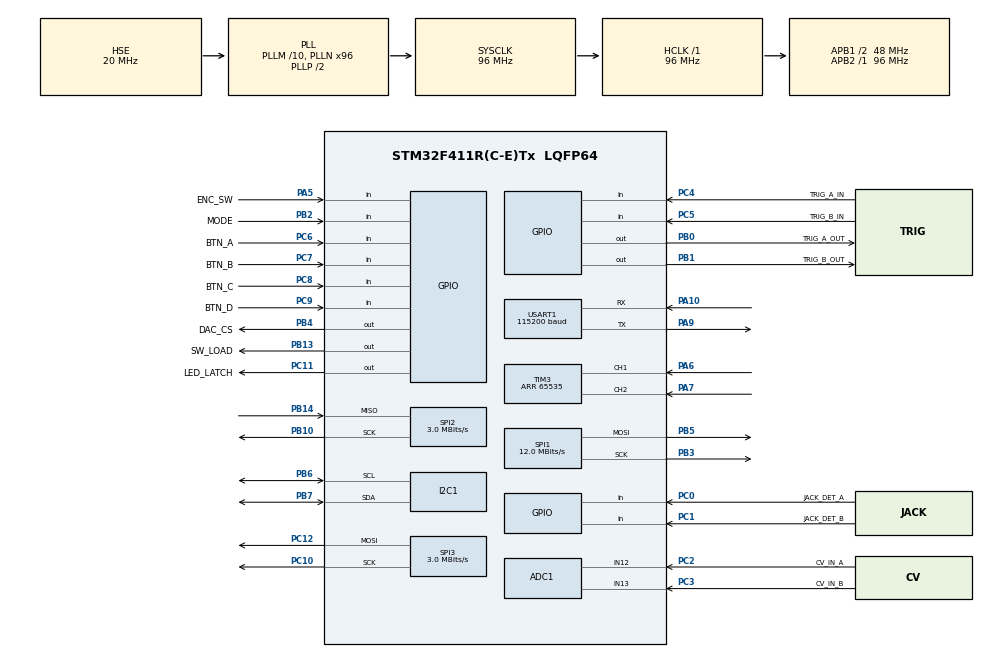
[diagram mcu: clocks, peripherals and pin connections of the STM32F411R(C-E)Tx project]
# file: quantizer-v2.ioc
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ADC1.Channel-0\#ChannelRegularConversion=ADC_CHANNEL_12
ADC1.Channel-1\#ChannelRegularConversion=ADC_CHANNEL_13
ADC1.ClockPrescaler=ADC_CLOCK_SYNC_PCLK_DIV8
ADC1.ContinuousConvMode=ENABLE
ADC1.DMAContinuousRequests=ENABLE
ADC1.EOCSelection=ADC_EOC_SEQ_CONV
ADC1.NbrOfConversion=2
ADC1.NbrOfConversionFlag=1
ADC1.Rank-0\#ChannelRegularConversion=1
ADC1.Rank-1\#ChannelRegularConversion=2
ADC1.SamplingTime-0\#ChannelRegularConversion=ADC_SAMPLETIME_480CYCLES
ADC1.SamplingTime-1\#ChannelRegularConversion=ADC_SAMPLETIME_480CYCLES
ADC1.ScanConvMode=ENABLE
ADC1.master=1
Dma.ADC1.0.Direction=DMA_PERIPH_TO_MEMORY
Dma.ADC1.0.FIFOMode=DMA_FIFOMODE_DISABLE
Dma.ADC1.0.Instance=DMA2_Stream0
Dma.ADC1.0.MemDataAlignment=DMA_MDATAALIGN_HALFWORD
Dma.ADC1.0.MemInc=DMA_MINC_ENABLE
Dma.ADC1.0.Mode=DMA_CIRCULAR
Dma.ADC1.0.PeriphDataAlignment=DMA_PDATAALIGN_HALFWORD
Dma.ADC1.0.PeriphInc=DMA_PINC_DISABLE
Dma.ADC1.0.Priority=DMA_PRIORITY_HIGH
Dma.Request0=ADC1
I2C1.I2C_Mode=I2C_Standard
Mcu.Family=STM32F4
Mcu.Name=STM32F411R(C-E)Tx
Mcu.Package=LQFP64
NVIC.DMA2_Stream0_IRQn=true\:0\:0\:false\:false\:true\:false\:true\:true
NVIC.I2C1_ER_IRQn=true\:3\:0\:false\:false\:true\:true\:true\:true
NVIC.I2C1_EV_IRQn=true\:3\:0\:false\:false\:true\:true\:true\:true
NVIC.PriorityGroup=NVIC_PRIORITYGROUP_4
NVIC.TIM2_IRQn=true\:1\:0\:false\:false\:true\:true\:true\:true
NVIC.USART1_IRQn=true\:2\:0\:false\:false\:true\:true\:true\:true
PA10.Mode=Asynchronous
PA10.Signal=USART1_RX
PA13.Mode=Serial_Wire
PA13.Signal=SYS_JTMS-SWDIO
PA14.Mode=Serial_Wire
PA14.Signal=SYS_JTCK-SWCLK
PA5.GPIO_Label=ENC_SW
PA5.Signal=GPIO_Input
PA6.Signal=S_TIM3_CH1
PA7.Signal=S_TIM3_CH2
PA9.Mode=Asynchronous
PA9.Signal=USART1_TX
PB0.GPIO_Label=TRIG_A_OUT
PB0.PinState=GPIO_PIN_SET
PB0.Signal=GPIO_Output
PB1.GPIO_Label=TRIG_B_OUT
PB1.PinState=GPIO_PIN_SET
PB1.Signal=GPIO_Output
PB10.Mode=RX_Only_Simplex_Unidirect_Master
PB10.Signal=SPI2_SCK
PB13.GPIO_Label=SW_LOAD
PB13.PinState=GPIO_PIN_SET
PB13.Signal=GPIO_Output
PB14.Mode=RX_Only_Simplex_Unidirect_Master
PB14.Signal=SPI2_MISO
PB2.GPIO_Label=MODE
PB2.Signal=GPIO_Input
PB3.Mode=TX_Only_Simplex_Unidirect_Master
PB3.Signal=SPI1_SCK
PB4.GPIO_Label=DAC_CS
PB4.GPIO_Speed=GPIO_SPEED_FREQ_VERY_HIGH
PB4.PinState=GPIO_PIN_SET
PB4.Signal=GPIO_Output
PB5.Mode=TX_Only_Simplex_Unidirect_Master
PB5.Signal=SPI1_MOSI
PB6.Mode=I2C
PB6.Signal=I2C1_SCL
PB7.Mode=I2C
PB7.Signal=I2C1_SDA
PC0.GPIO_Label=JACK_DET_A
PC0.GPIO_PuPd=GPIO_PULLDOWN
PC0.Signal=GPIO_Input
PC1.GPIO_Label=JACK_DET_B
PC1.GPIO_PuPd=GPIO_PULLDOWN
PC1.Signal=GPIO_Input
PC10.Mode=TX_Only_Simplex_Unidirect_Master
PC10.Signal=SPI3_SCK
PC11.GPIO_Label=LED_LATCH
PC11.Signal=GPIO_Output
PC12.Mode=TX_Only_Simplex_Unidirect_Master
PC12.Signal=SPI3_MOSI
PC2.GPIO_Label=CV_IN_A
PC2.Signal=ADCx_IN12
PC3.GPIO_Label=CV_IN_B
PC3.Signal=ADCx_IN13
PC4.GPIO_Label=TRIG_A_IN
PC4.Signal=GPIO_Input
PC5.GPIO_Label=TRIG_B_IN
PC5.Signal=GPIO_Input
PC6.GPIO_Label=BTN_A
PC6.Signal=GPIO_Input
PC7.GPIO_Label=BTN_B
PC7.Signal=GPIO_Input
PC8.GPIO_Label=BTN_C
PC8.Signal=GPIO_Input
PC9.GPIO_Label=BTN_D
PC9.Signal=GPIO_Input
PH0\ -\ OSC_IN.Mode=HSE-External-Oscillator
PH0\ -\ OSC_IN.Signal=RCC_OSC_IN
PH1\ -\ OSC_OUT.Mode=HSE-External-Oscillator
PH1\ -\ OSC_OUT.Signal=RCC_OSC_OUT
ProjectManager.HeapSize=0x200
ProjectManager.StackSize=0x400
ProjectManager.TargetToolchain=STM32CubeIDE
RCC.48MHZClocksFreq_Value=48000000
RCC.AHBFreq_Value=96000000
RCC.APB1CLKDivider=RCC_HCLK_DIV2
RCC.APB1Freq_Value=48000000
RCC.APB1TimFreq_Value=96000000
RCC.APB2Freq_Value=96000000
RCC.APB2TimFreq_Value=96000000
RCC.CortexFreq_Value=96000000
RCC.HCLKFreq_Value=96000000
RCC.HSE_VALUE=20000000
RCC.HSI_VALUE=16000000
RCC.LSE_VALUE=32768
RCC.PLLM=10
RCC.PLLN=96
RCC.PLLSourceVirtual=RCC_PLLSOURCE_HSE
RCC.SYSCLKFreq_VALUE=96000000
RCC.SYSCLKSource=RCC_SYSCLKSOURCE_PLLCLK
RCC.VCOOutputFreq_Value=192000000
SH.ADCx_IN12.0=ADC1_IN12,IN12
SH.ADCx_IN13.0=ADC1_IN13,IN13
SH.S_TIM3_CH1.0=TIM3_CH1,Encoder_Interface
SH.S_TIM3_CH2.0=TIM3_CH2,Encoder_Interface
SPI1.BaudRatePrescaler=SPI_BAUDRATEPRESCALER_8
SPI1.CalculateBaudRate=12.0 MBits/s
SPI1.DataSize=SPI_DATASIZE_8BIT
SPI1.Direction=SPI_DIRECTION_2LINES
SPI1.Mode=SPI_MODE_MASTER
SPI1.VirtualType=VM_MASTER
SPI2.BaudRatePrescaler=SPI_BAUDRATEPRESCALER_16
SPI2.CalculateBaudRate=3.0 MBits/s
SPI2.DataSize=SPI_DATASIZE_8BIT
SPI2.Direction=SPI_DIRECTION_2LINES_RXONLY
SPI2.Mode=SPI_MODE_MASTER
SPI2.VirtualType=VM_MASTER
SPI3.BaudRatePrescaler=SPI_BAUDRATEPRESCALER_16
SPI3.CalculateBaudRate=3.0 MBits/s
SPI3.DataSize=SPI_DATASIZE_8BIT
SPI3.Direction=SPI_DIRECTION_2LINES
SPI3.Mode=SPI_MODE_MASTER
SPI3.VirtualType=VM_MASTER
TIM2.AutoReloadPreload=TIM_AUTORELOAD_PRELOAD_ENABLE
TIM2.Period=999
TIM2.Prescaler=95
TIM3.EncoderMode=TIM_ENCODERMODE_TI12
TIM3.IC1Filter=10
TIM3.IC2Filter=10
TIM3.Period=65535
USART1.BaudRate=115200
USART1.Mode=MODE_TX_RX
USART1.VirtualMode=VM_ASYNC
VP_TIM2_VS_ClockSourceINT.Mode=Internal
board=custom

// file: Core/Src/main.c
/* USER CODE BEGIN Header */
/**
  ******************************************************************************
  * @file           : main.c
  * @brief          : Main program body
  ******************************************************************************
  * @attention
  *
  * Copyright (c) 2026 STMicroelectronics.
  * All rights reserved.
  *
  * This software is licensed under terms that can be found in the LICENSE file
  * in the root directory of this software component.
  * If no LICENSE file comes with this software, it is provided AS-IS.
  *
  ******************************************************************************
  */
/* USER CODE END Header */
#include "main.h"

/* USER CODE BEGIN Includes */

#include "app/app.h"
#include "app/cli.h"
#include "app/i2c_slave.h"

/* USER CODE END Includes */

ADC_HandleTypeDef hadc1;
DMA_HandleTypeDef hdma_adc1;

I2C_HandleTypeDef hi2c1;

SPI_HandleTypeDef hspi1;
SPI_HandleTypeDef hspi2;
SPI_HandleTypeDef hspi3;

TIM_HandleTypeDef htim2;
TIM_HandleTypeDef htim3;

UART_HandleTypeDef huart1;

/* USER CODE BEGIN PV */

static struct APP_config app_config;

/* USER CODE END PV */

void SystemClock_Config(void);
static void MX_GPIO_Init(void);
static void MX_DMA_Init(void);
static void MX_ADC1_Init(void);
static void MX_SPI1_Init(void);
static void MX_SPI2_Init(void);
static void MX_SPI3_Init(void);
static void MX_TIM2_Init(void);
static void MX_TIM3_Init(void);
static void MX_USART1_UART_Init(void);
static void MX_I2C1_Init(void);

/* USER CODE BEGIN 0 */

/*
 * 1 kHz scheduler tick (TIM2). Only sets a flag; all work happens in APP_loop.
 */
void HAL_TIM_PeriodElapsedCallback(TIM_HandleTypeDef* htim)
{
    if (htim->Instance == TIM2)
    {
        APP_on_tick();
    }
}

/*
 * CLI byte received. Make sure the USART1 global interrupt is enabled in the IOC.
 */
void HAL_UART_RxCpltCallback(UART_HandleTypeDef* huart)
{
    if (huart->Instance == huart1.Instance)
    {
        CLI_on_rx_isr();
    }
}

/*
 * Conductor I2C slave (sequencer personality). Requires the I2C1 event
 * and error interrupts to be enabled in the IOC.
 */
void HAL_I2C_AddrCallback(I2C_HandleTypeDef* hi2c, uint8_t TransferDirection,
                          uint16_t AddrMatchCode)
{
    if (hi2c->Instance == I2C1)
    {
        I2C_SLAVE_on_addr(TransferDirection, AddrMatchCode);
    }
}

void HAL_I2C_SlaveRxCpltCallback(I2C_HandleTypeDef* hi2c)
{
    if (hi2c->Instance == I2C1)
    {
        I2C_SLAVE_on_rx_complete();
    }
}

void HAL_I2C_SlaveTxCpltCallback(I2C_HandleTypeDef* hi2c)
{
    if (hi2c->Instance == I2C1)
    {
        I2C_SLAVE_on_tx_complete();
    }
}

void HAL_I2C_ListenCpltCallback(I2C_HandleTypeDef* hi2c)
{
    if (hi2c->Instance == I2C1)
    {
        I2C_SLAVE_on_listen_complete();
    }
}

void HAL_I2C_ErrorCallback(I2C_HandleTypeDef* hi2c)
{
    if (hi2c->Instance == I2C1)
    {
        I2C_SLAVE_on_error();
    }
}

/* USER CODE END 0 */

int main(void)
{

  /* MCU Configuration--------------------------------------------------------*/

  /* Reset of all peripherals, Initializes the Flash interface and the Systick. */
  HAL_Init();

  /* Configure the system clock */
  SystemClock_Config();

  /* Initialize all configured peripherals */
  MX_GPIO_Init();
  MX_DMA_Init();
  MX_ADC1_Init();
  MX_SPI1_Init();
  MX_SPI2_Init();
  MX_SPI3_Init();
  MX_TIM2_Init();
  MX_TIM3_Init();
  MX_USART1_UART_Init();
  MX_I2C1_Init();
  /* USER CODE BEGIN 2 */

    // Delay to let the rails settle before user init
    HAL_Delay(250);

    app_config.hadc = &hadc1;
    app_config.hspi_dac = &hspi1;
    app_config.hspi_sw = &hspi2;
    app_config.hspi_led = &hspi3;
    app_config.htim_tick = &htim2;
    app_config.htim_enc = &htim3;
    app_config.huart_cli = &huart1;
    app_config.hi2c = &hi2c1;

    APP_init(&app_config);

  /* USER CODE END 2 */

  /* Infinite loop */
  /* USER CODE BEGIN WHILE */
    while (1)
    {
        APP_loop();
    /* USER CODE END WHILE */

    }
}

void SystemClock_Config(void)
{
  RCC_OscInitTypeDef RCC_OscInitStruct = {0};
  RCC_ClkInitTypeDef RCC_ClkInitStruct = {0};

  /** Configure the main internal regulator output voltage
  */
  __HAL_RCC_PWR_CLK_ENABLE();
  __HAL_PWR_VOLTAGESCALING_CONFIG(PWR_REGULATOR_VOLTAGE_SCALE1);

  /** Initializes the RCC Oscillators according to the specified parameters
  * in the RCC_OscInitTypeDef structure.
  */
  RCC_OscInitStruct.OscillatorType = RCC_OSCILLATORTYPE_HSE;
  RCC_OscInitStruct.HSEState = RCC_HSE_ON;
  RCC_OscInitStruct.PLL.PLLState = RCC_PLL_ON;
  RCC_OscInitStruct.PLL.PLLSource = RCC_PLLSOURCE_HSE;
  RCC_OscInitStruct.PLL.PLLM = 10;
  RCC_OscInitStruct.PLL.PLLN = 96;
  RCC_OscInitStruct.PLL.PLLP = RCC_PLLP_DIV2;
  RCC_OscInitStruct.PLL.PLLQ = 4;
  if (HAL_RCC_OscConfig(&RCC_OscInitStruct) != HAL_OK)
  {
    Error_Handler();
  }

  /** Initializes the CPU, AHB and APB buses clocks
  */
  RCC_ClkInitStruct.ClockType = RCC_CLOCKTYPE_HCLK|RCC_CLOCKTYPE_SYSCLK
                              |RCC_CLOCKTYPE_PCLK1|RCC_CLOCKTYPE_PCLK2;
  RCC_ClkInitStruct.SYSCLKSource = RCC_SYSCLKSOURCE_PLLCLK;
  RCC_ClkInitStruct.AHBCLKDivider = RCC_SYSCLK_DIV1;
  RCC_ClkInitStruct.APB1CLKDivider = RCC_HCLK_DIV2;
  RCC_ClkInitStruct.APB2CLKDivider = RCC_HCLK_DIV1;

  if (HAL_RCC_ClockConfig(&RCC_ClkInitStruct, FLASH_LATENCY_3) != HAL_OK)
  {
    Error_Handler();
  }
}

static void MX_ADC1_Init(void)
{

  ADC_ChannelConfTypeDef sConfig = {0};

  /** Configure the global features of the ADC (Clock, Resolution, Data Alignment and number of conversion)
  */
  hadc1.Instance = ADC1;
  hadc1.Init.ClockPrescaler = ADC_CLOCK_SYNC_PCLK_DIV8;
  hadc1.Init.Resolution = ADC_RESOLUTION_12B;
  hadc1.Init.ScanConvMode = ENABLE;
  hadc1.Init.ContinuousConvMode = ENABLE;
  hadc1.Init.DiscontinuousConvMode = DISABLE;
  hadc1.Init.ExternalTrigConvEdge = ADC_EXTERNALTRIGCONVEDGE_NONE;
  hadc1.Init.ExternalTrigConv = ADC_SOFTWARE_START;
  hadc1.Init.DataAlign = ADC_DATAALIGN_RIGHT;
  hadc1.Init.NbrOfConversion = 2;
  hadc1.Init.DMAContinuousRequests = ENABLE;
  hadc1.Init.EOCSelection = ADC_EOC_SEQ_CONV;
  if (HAL_ADC_Init(&hadc1) != HAL_OK)
  {
    Error_Handler();
  }

  /** Configure for the selected ADC regular channel its corresponding rank in the sequencer and its sample time.
  */
  sConfig.Channel = ADC_CHANNEL_12;
  sConfig.Rank = 1;
  sConfig.SamplingTime = ADC_SAMPLETIME_480CYCLES;
  if (HAL_ADC_ConfigChannel(&hadc1, &sConfig) != HAL_OK)
  {
    Error_Handler();
  }

  /** Configure for the selected ADC regular channel its corresponding rank in the sequencer and its sample time.
  */
  sConfig.Channel = ADC_CHANNEL_13;
  sConfig.Rank = 2;
  if (HAL_ADC_ConfigChannel(&hadc1, &sConfig) != HAL_OK)
  {
    Error_Handler();
  }

}

static void MX_I2C1_Init(void)
{

  hi2c1.Instance = I2C1;
  hi2c1.Init.ClockSpeed = 100000;
  hi2c1.Init.DutyCycle = I2C_DUTYCYCLE_2;
  hi2c1.Init.OwnAddress1 = 0;
  hi2c1.Init.AddressingMode = I2C_ADDRESSINGMODE_7BIT;
  hi2c1.Init.DualAddressMode = I2C_DUALADDRESS_DISABLE;
  hi2c1.Init.OwnAddress2 = 0;
  hi2c1.Init.GeneralCallMode = I2C_GENERALCALL_DISABLE;
  hi2c1.Init.NoStretchMode = I2C_NOSTRETCH_DISABLE;
  if (HAL_I2C_Init(&hi2c1) != HAL_OK)
  {
    Error_Handler();
  }

}

static void MX_SPI1_Init(void)
{

  /* SPI1 parameter configuration*/
  hspi1.Instance = SPI1;
  hspi1.Init.Mode = SPI_MODE_MASTER;
  hspi1.Init.Direction = SPI_DIRECTION_2LINES;
  hspi1.Init.DataSize = SPI_DATASIZE_8BIT;
  hspi1.Init.CLKPolarity = SPI_POLARITY_LOW;
  hspi1.Init.CLKPhase = SPI_PHASE_1EDGE;
  hspi1.Init.NSS = SPI_NSS_SOFT;
  hspi1.Init.BaudRatePrescaler = SPI_BAUDRATEPRESCALER_8;
  hspi1.Init.FirstBit = SPI_FIRSTBIT_MSB;
  hspi1.Init.TIMode = SPI_TIMODE_DISABLE;
  hspi1.Init.CRCCalculation = SPI_CRCCALCULATION_DISABLE;
  hspi1.Init.CRCPolynomial = 10;
  if (HAL_SPI_Init(&hspi1) != HAL_OK)
  {
    Error_Handler();
  }

}

static void MX_SPI2_Init(void)
{

  /* SPI2 parameter configuration*/
  hspi2.Instance = SPI2;
  hspi2.Init.Mode = SPI_MODE_MASTER;
  hspi2.Init.Direction = SPI_DIRECTION_2LINES_RXONLY;
  hspi2.Init.DataSize = SPI_DATASIZE_8BIT;
  hspi2.Init.CLKPolarity = SPI_POLARITY_LOW;
  hspi2.Init.CLKPhase = SPI_PHASE_1EDGE;
  hspi2.Init.NSS = SPI_NSS_SOFT;
  hspi2.Init.BaudRatePrescaler = SPI_BAUDRATEPRESCALER_16;
  hspi2.Init.FirstBit = SPI_FIRSTBIT_MSB;
  hspi2.Init.TIMode = SPI_TIMODE_DISABLE;
  hspi2.Init.CRCCalculation = SPI_CRCCALCULATION_DISABLE;
  hspi2.Init.CRCPolynomial = 10;
  if (HAL_SPI_Init(&hspi2) != HAL_OK)
  {
    Error_Handler();
  }

}

static void MX_SPI3_Init(void)
{

  /* SPI3 parameter configuration*/
  hspi3.Instance = SPI3;
  hspi3.Init.Mode = SPI_MODE_MASTER;
  hspi3.Init.Direction = SPI_DIRECTION_2LINES;
  hspi3.Init.DataSize = SPI_DATASIZE_8BIT;
  hspi3.Init.CLKPolarity = SPI_POLARITY_LOW;
  hspi3.Init.CLKPhase = SPI_PHASE_1EDGE;
  hspi3.Init.NSS = SPI_NSS_SOFT;
  hspi3.Init.BaudRatePrescaler = SPI_BAUDRATEPRESCALER_16;
  hspi3.Init.FirstBit = SPI_FIRSTBIT_MSB;
  hspi3.Init.TIMode = SPI_TIMODE_DISABLE;
  hspi3.Init.CRCCalculation = SPI_CRCCALCULATION_DISABLE;
  hspi3.Init.CRCPolynomial = 10;
  if (HAL_SPI_Init(&hspi3) != HAL_OK)
  {
    Error_Handler();
  }

}

static void MX_TIM2_Init(void)
{

  TIM_ClockConfigTypeDef sClockSourceConfig = {0};
  TIM_MasterConfigTypeDef sMasterConfig = {0};

  htim2.Instance = TIM2;
  htim2.Init.Prescaler = 95;
  htim2.Init.CounterMode = TIM_COUNTERMODE_UP;
  htim2.Init.Period = 999;
  htim2.Init.ClockDivision = TIM_CLOCKDIVISION_DIV1;
  htim2.Init.AutoReloadPreload = TIM_AUTORELOAD_PRELOAD_ENABLE;
  if (HAL_TIM_Base_Init(&htim2) != HAL_OK)
  {
    Error_Handler();
  }
  sClockSourceConfig.ClockSource = TIM_CLOCKSOURCE_INTERNAL;
  if (HAL_TIM_ConfigClockSource(&htim2, &sClockSourceConfig) != HAL_OK)
  {
    Error_Handler();
  }
  sMasterConfig.MasterOutputTrigger = TIM_TRGO_RESET;
  sMasterConfig.MasterSlaveMode = TIM_MASTERSLAVEMODE_DISABLE;
  if (HAL_TIMEx_MasterConfigSynchronization(&htim2, &sMasterConfig) != HAL_OK)
  {
    Error_Handler();
  }

}

static void MX_TIM3_Init(void)
{

  TIM_Encoder_InitTypeDef sConfig = {0};
  TIM_MasterConfigTypeDef sMasterConfig = {0};

  htim3.Instance = TIM3;
  htim3.Init.Prescaler = 0;
  htim3.Init.CounterMode = TIM_COUNTERMODE_UP;
  htim3.Init.Period = 65535;
  htim3.Init.ClockDivision = TIM_CLOCKDIVISION_DIV1;
  htim3.Init.AutoReloadPreload = TIM_AUTORELOAD_PRELOAD_DISABLE;
  sConfig.EncoderMode = TIM_ENCODERMODE_TI12;
  sConfig.IC1Polarity = TIM_ICPOLARITY_RISING;
  sConfig.IC1Selection = TIM_ICSELECTION_DIRECTTI;
  sConfig.IC1Prescaler = TIM_ICPSC_DIV1;
  sConfig.IC1Filter = 10;
  sConfig.IC2Polarity = TIM_ICPOLARITY_RISING;
  sConfig.IC2Selection = TIM_ICSELECTION_DIRECTTI;
  sConfig.IC2Prescaler = TIM_ICPSC_DIV1;
  sConfig.IC2Filter = 10;
  if (HAL_TIM_Encoder_Init(&htim3, &sConfig) != HAL_OK)
  {
    Error_Handler();
  }
  sMasterConfig.MasterOutputTrigger = TIM_TRGO_RESET;
  sMasterConfig.MasterSlaveMode = TIM_MASTERSLAVEMODE_DISABLE;
  if (HAL_TIMEx_MasterConfigSynchronization(&htim3, &sMasterConfig) != HAL_OK)
  {
    Error_Handler();
  }

}

static void MX_USART1_UART_Init(void)
{

  huart1.Instance = USART1;
  huart1.Init.BaudRate = 115200;
  huart1.Init.WordLength = UART_WORDLENGTH_8B;
  huart1.Init.StopBits = UART_STOPBITS_1;
  huart1.Init.Parity = UART_PARITY_NONE;
  huart1.Init.Mode = UART_MODE_TX_RX;
  huart1.Init.HwFlowCtl = UART_HWCONTROL_NONE;
  huart1.Init.OverSampling = UART_OVERSAMPLING_16;
  if (HAL_UART_Init(&huart1) != HAL_OK)
  {
    Error_Handler();
  }

}

static void MX_DMA_Init(void)
{

  /* DMA controller clock enable */
  __HAL_RCC_DMA2_CLK_ENABLE();

  /* DMA interrupt init */
  /* DMA2_Stream0_IRQn interrupt configuration */
  HAL_NVIC_SetPriority(DMA2_Stream0_IRQn, 0, 0);
  HAL_NVIC_EnableIRQ(DMA2_Stream0_IRQn);

}

static void MX_GPIO_Init(void)
{
  GPIO_InitTypeDef GPIO_InitStruct = {0};

  /* GPIO Ports Clock Enable */
  __HAL_RCC_GPIOH_CLK_ENABLE();
  __HAL_RCC_GPIOC_CLK_ENABLE();
  __HAL_RCC_GPIOA_CLK_ENABLE();
  __HAL_RCC_GPIOB_CLK_ENABLE();

  /*Configure GPIO pin Output Level */
  HAL_GPIO_WritePin(GPIOB, TRIG_A_OUT_Pin|TRIG_B_OUT_Pin|SW_LOAD_Pin|DAC_CS_Pin, GPIO_PIN_SET);

  /*Configure GPIO pin Output Level */
  HAL_GPIO_WritePin(LED_LATCH_GPIO_Port, LED_LATCH_Pin, GPIO_PIN_RESET);

  /*Configure GPIO pins : JACK_DET_A_Pin JACK_DET_B_Pin */
  GPIO_InitStruct.Pin = JACK_DET_A_Pin|JACK_DET_B_Pin;
  GPIO_InitStruct.Mode = GPIO_MODE_INPUT;
  GPIO_InitStruct.Pull = GPIO_PULLDOWN;
  HAL_GPIO_Init(GPIOC, &GPIO_InitStruct);

  /*Configure GPIO pin : ENC_SW_Pin */
  GPIO_InitStruct.Pin = ENC_SW_Pin;
  GPIO_InitStruct.Mode = GPIO_MODE_INPUT;
  GPIO_InitStruct.Pull = GPIO_NOPULL;
  HAL_GPIO_Init(ENC_SW_GPIO_Port, &GPIO_InitStruct);

  /*Configure GPIO pin : MODE_Pin */
  GPIO_InitStruct.Pin = MODE_Pin;
  GPIO_InitStruct.Mode = GPIO_MODE_INPUT;
  GPIO_InitStruct.Pull = GPIO_NOPULL;
  HAL_GPIO_Init(MODE_GPIO_Port, &GPIO_InitStruct);

  /*Configure GPIO pins : TRIG_A_IN_Pin TRIG_B_IN_Pin BTN_A_Pin BTN_B_Pin
                           BTN_C_Pin BTN_D_Pin */
  GPIO_InitStruct.Pin = TRIG_A_IN_Pin|TRIG_B_IN_Pin|BTN_A_Pin|BTN_B_Pin
                          |BTN_C_Pin|BTN_D_Pin;
  GPIO_InitStruct.Mode = GPIO_MODE_INPUT;
  GPIO_InitStruct.Pull = GPIO_NOPULL;
  HAL_GPIO_Init(GPIOC, &GPIO_InitStruct);

  /*Configure GPIO pins : TRIG_A_OUT_Pin TRIG_B_OUT_Pin SW_LOAD_Pin */
  GPIO_InitStruct.Pin = TRIG_A_OUT_Pin|TRIG_B_OUT_Pin|SW_LOAD_Pin;
  GPIO_InitStruct.Mode = GPIO_MODE_OUTPUT_PP;
  GPIO_InitStruct.Pull = GPIO_NOPULL;
  GPIO_InitStruct.Speed = GPIO_SPEED_FREQ_LOW;
  HAL_GPIO_Init(GPIOB, &GPIO_InitStruct);

  /*Configure GPIO pin : LED_LATCH_Pin */
  GPIO_InitStruct.Pin = LED_LATCH_Pin;
  GPIO_InitStruct.Mode = GPIO_MODE_OUTPUT_PP;
  GPIO_InitStruct.Pull = GPIO_NOPULL;
  GPIO_InitStruct.Speed = GPIO_SPEED_FREQ_LOW;
  HAL_GPIO_Init(LED_LATCH_GPIO_Port, &GPIO_InitStruct);

  /*Configure GPIO pin : DAC_CS_Pin */
  GPIO_InitStruct.Pin = DAC_CS_Pin;
  GPIO_InitStruct.Mode = GPIO_MODE_OUTPUT_PP;
  GPIO_InitStruct.Pull = GPIO_NOPULL;
  GPIO_InitStruct.Speed = GPIO_SPEED_FREQ_VERY_HIGH;
  HAL_GPIO_Init(DAC_CS_GPIO_Port, &GPIO_InitStruct);

}

void Error_Handler(void)
{
    __disable_irq();
    while (1)
    {
    }
}
